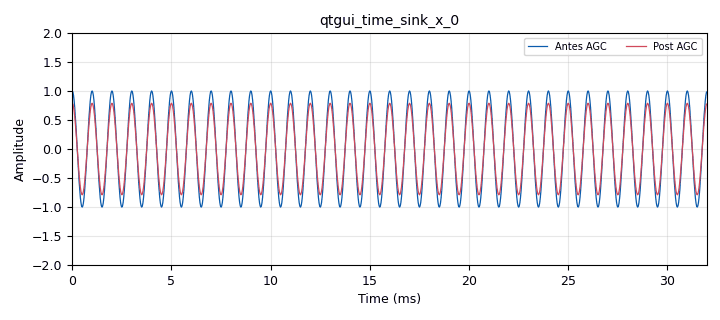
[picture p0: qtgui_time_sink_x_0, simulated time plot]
options:
  parameters:
    author: M. Doallo
    generate_options: qt_gui
    id: AGC_Test
    output_language: python
    title: Demo de AGC
  states: {}

blocks:
- name: Amplitud
  id: variable_qtgui_range
  parameters:
    gui_hint: 0,0,1,1
    label: Amplitud antes de AGC
    start: '0'
    step: '0.05'
    stop: '20'
    value: '1'
  states: {}
- name: samp_rate
  id: variable
  parameters:
    value: '32000'
  states: {}
- name: analog_agc_xx_0
  id: analog_agc_xx
  parameters:
    gain: '1'
    max_gain: '4'
    rate: '1e-4'
    reference: '.5'
    type: float
  states: {}
- name: analog_sig_source_x_0
  id: analog_sig_source_x
  parameters:
    amp: Amplitud
    freq: '1000'
    offset: '0'
    phase: '0'
    samp_rate: samp_rate
    type: float
    waveform: analog.GR_COS_WAVE
  states: {}
- name: blocks_throttle_0
  id: blocks_throttle
  parameters:
    samples_per_second: samp_rate
    type: float
  states: {}
- name: qtgui_time_sink_x_0
  id: qtgui_time_sink_x
  parameters:
    ctrlpanel: 'True'
    gui_hint: 1,0,5,1
    label1: Antes AGC
    label2: Post AGC
    nconnections: '2'
    size: '1024'
    srate: samp_rate
    type: float
    ymax: '2'
    ymin: '-2'
  states: {}

connections:
- [analog_agc_xx_0, '0', blocks_throttle_0, '0']
- [analog_sig_source_x_0, '0', analog_agc_xx_0, '0']
- [analog_sig_source_x_0, '0', qtgui_time_sink_x_0, '0']
- [blocks_throttle_0, '0', qtgui_time_sink_x_0, '1']

metadata:
  file_format: 1
